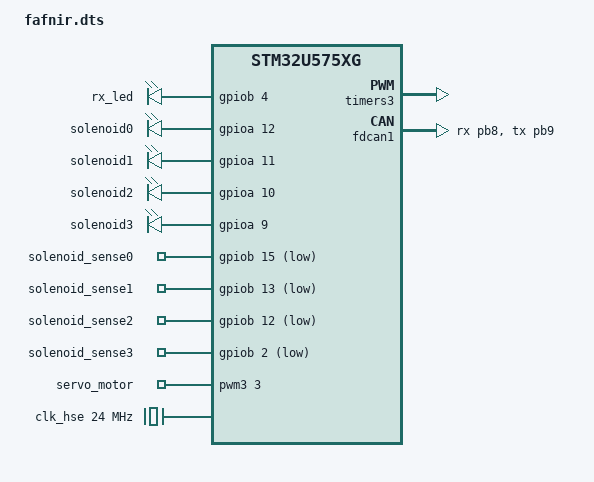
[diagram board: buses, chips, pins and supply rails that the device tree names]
/dts-v1/;
#include <st/u5/stm32u575Xg.dtsi>
#include <st/u5/stm32u575rgtx-pinctrl.dtsi>
#include <zephyr/dt-bindings/input/input-event-codes.h>


/ {

	chosen {
		zephyr,sram = &sram0;
		zephyr,flash = &flash0;
		zephyr,canbus = &fdcan1;
	};

	aliases {
		
		fdcan1 = &fdcan1;


		rxled = &rx_led;

		n2valve = &solenoid0;
		ventvalve = &solenoid1;
		abortvalve = &solenoid2;
		extravalve = &solenoid3;

		n2sense = &solenoid_sense0;
		ventsense = &solenoid_sense1;
		abortsense = &solenoid_sense2;
		extrasense = &solenoid_sense3;

		servo = &servo_motor;

	};


    leds {
        compatible = "gpio-leds";
        
        rx_led: led_0 {
			gpios = <&gpiob 4 GPIO_ACTIVE_HIGH>;
		};
    };

	solenoids {
        compatible = "gpio-leds";
        
        solenoid0: sol_0 {
			gpios = <&gpioa 12 GPIO_ACTIVE_HIGH>;
		};

		solenoid1: sol_1 {
			gpios = <&gpioa 11 GPIO_ACTIVE_HIGH>;
		};

		solenoid2: sol_2 {
			gpios = <&gpioa 10 GPIO_ACTIVE_HIGH>;
		};

		solenoid3: sol_3 {
			gpios = <&gpioa 9 GPIO_ACTIVE_HIGH>;
		};

	};

	solenoidSense {
        compatible = "gpio-keys";
        
        solenoid_sense0: sense_0 {
			gpios = <&gpiob 15 GPIO_ACTIVE_LOW>;
		};

		solenoid_sense1: sense_1 {
			gpios = <&gpiob 13 GPIO_ACTIVE_LOW>;
		};
		
		solenoid_sense2: sense_2 {
			gpios = <&gpiob 12 GPIO_ACTIVE_LOW>;
		};

		solenoid_sense3: sense_3 {
			gpios = <&gpiob 2 GPIO_ACTIVE_LOW>;
		};

	};

	servo {
		compatible = "pwm-leds";
		status = "okay";

		servo_motor: servo {
			pwms = <&pwm3 3 PWM_MSEC(20) PWM_POLARITY_NORMAL>;
		};
	};

};


&timers3 {
    st,prescaler = <900>;
	status = "okay";

	pwm3: pwm {
		status = "okay";
		pinctrl-0 = <&tim3_ch3_pb0>;
		pinctrl-names = "default";
	};
};


&clk_hse {
    clock-frequency = <DT_FREQ_M(24)>; /* your crystal MHz */
    status = "okay";
};

&pll1 {
	div-m = <2>;
	mul-n = <30>;
	div-q = <4>;
	div-r = <4>;
	clocks = <&clk_hse>;
	status = "okay";
};

&rcc {
	clocks = <&pll1>;
	clock-frequency = <DT_FREQ_M(90)>;
	ahb-prescaler = <1>;
	apb1-prescaler = <1>;
	apb2-prescaler = <1>;
	apb3-prescaler = <1>;
};

&fdcan1 {
	clocks = <&rcc STM32_CLOCK_BUS_APB1_2 0x00000200>,
		 <&rcc STM32_SRC_PLL1_Q FDCAN1_SEL(1)>;
	pinctrl-0 = <&fdcan1_rx_pb8 &fdcan1_tx_pb9>;
	pinctrl-names = "default";
	status = "okay";
};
